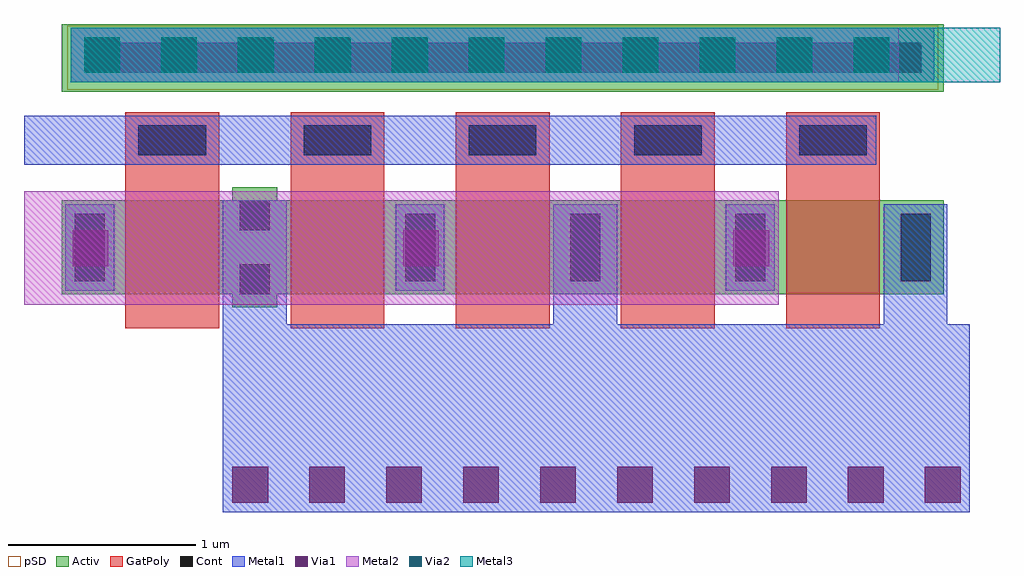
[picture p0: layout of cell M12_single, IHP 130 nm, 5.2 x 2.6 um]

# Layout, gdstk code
import gdstk
lib = gdstk.Library(unit=1e-6, precision=1e-09)
def R(c, l, rs):  # rectangles x0, y0, x1, y1
    for r in rs: c.add(gdstk.rectangle(r[:2], r[2:], *l))
def A(c, l, x, y, w, h, nx, ny, dx, dy):  # array of equal rectangles
    R(c, l, [(x+i*dx, y+j*dy, x+i*dx+w, y+j*dy+h) for i in range(nx) for j in range(ny)])
Activ = (1, 0)
GatPoly = (5, 0)
Cont = (6, 0)
Metal1 = (8, 0)
Metal2 = (10, 0)
pSD = (14, 0)
Via1 = (19, 0)
Via2 = (29, 0)
Metal3 = (30, 0)

m12_single = lib.new_cell('M12_single')
R(m12_single, Activ, [(-0.09,-0.07,0.15,0), (-1,0,3.7,0.5), (-0.09,0.5,0.15,0.57), (-1,1.08,3.7,1.44)])
A(m12_single, GatPoly, -0.66, -0.18, 0.5, 0.86, 5, 1, 0.88, 0)
A(m12_single, GatPoly, -0.66, 0.68, 0.5, 0.29, 5, 1, 0.88, 0)
R(m12_single, GatPoly, [(-0.66,-0.18,-0.16,0.68)])
A(m12_single, Cont, 0.83, 0.07, 0.16, 0.36, 4, 1, 0.88, 0)
A(m12_single, Cont, -0.59, 0.74, 0.36, 0.16, 5, 1, 0.88, 0)
R(m12_single, Cont, [(-0.05,0,0.11,0.16), (-0.93,0.07,-0.77,0.43), (-0.05,0.34,0.11,0.5), (-0.88,1.18,3.58,1.34)])
A(m12_single, Metal1, -0.14, -0.16, 0.34, 0.18, 3, 1, 1.76, 0)
A(m12_single, Metal1, -0.98, 0.02, 0.26, 0.46, 3, 1, 1.76, 0)
A(m12_single, Metal1, 0.24, 0.69, 0.46, 0.26, 4, 1, 0.88, 0)
R(m12_single, Metal1, [(-0.14,-1.16,3.84,-0.16), (-0.14,0.02,0.2,0.5), (1.62,0.02,1.96,0.48), (3.38,0.02,3.72,0.48), (-1.2,0.69,-0.64,0.95), (-0.64,0.69,3.34,0.95), (-0.95,1.13,3.65,1.42)])
R(m12_single, Metal2, [(-1.2,-0.055,2.82,0.55), (-0.95,1.13,3.46,1.42)])
R(m12_single, pSD, [(-0.97,1.09,3.67,1.43)])
A(m12_single, Via1, -0.09, -1.11, 0.19, 0.19, 10, 1, 0.41, 0)
A(m12_single, Via1, -0.94, 0.15, 0.19, 0.19, 3, 1, 1.76, 0)
A(m12_single, Via1, -0.88, 1.18, 0.19, 0.19, 11, 1, 0.41, 0)
A(m12_single, Via2, -0.88, 1.18, 0.19, 0.19, 11, 1, 0.41, 0)
R(m12_single, Metal3, [(-0.95,1.13,4,1.42)])

lib.write_gds('M12_single.gds')
